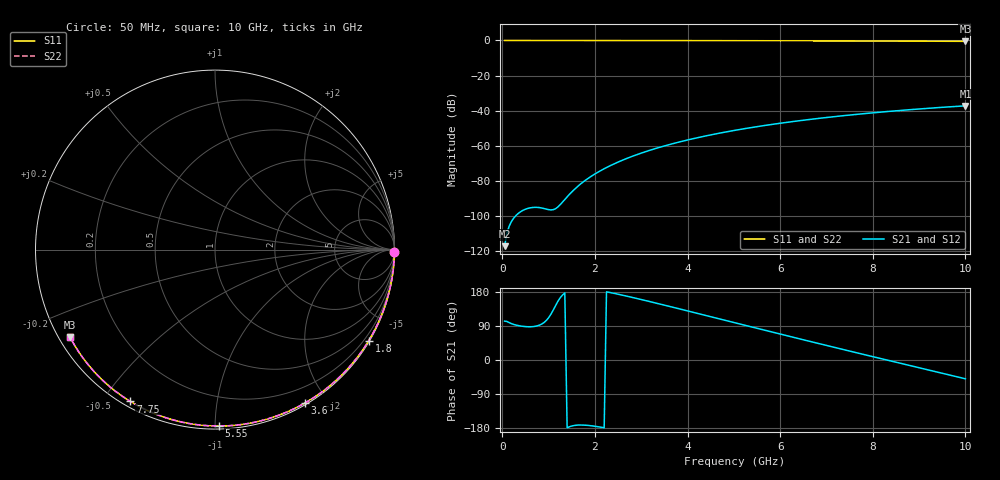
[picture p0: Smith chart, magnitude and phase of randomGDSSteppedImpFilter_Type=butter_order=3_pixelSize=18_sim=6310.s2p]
! freq	dB(S11)	phase(S11)	dB(S12)	phase(S12)
!  dB(S21)	phase(S21)	dB(S22)	phase(S22)
!S-par simulation data
#  GHz  S  DB  R 50
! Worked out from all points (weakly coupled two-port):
!   200 points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, 50 MHz to 10 GHz, reference 50 ohm
!   highest |S21| = -37.25 dB at 10 GHz (marker M1); lowest = -117.2 dB at 50 MHz (marker M2)
!   lowest |S11| = -0.5 dB at 10 GHz (marker M3), VSWR 34.46, Z = 1.56 - j13.9 ohm
!   |S11| at or under -10 dB: nowhere
!   |S22| runs from -0.5 to 0.0 dB; largest |S21 - S12| = 0
!   S11 on the Smith chart (normalised r, x): 50 MHz: open; 1.8 GHz: 0.03, -3.66; 3.6 GHz: 0.02, -1.74; 5.55 GHz: 0.02, -1.02; 7.75 GHz: 0.02, -0.59; 10 GHz: 0.03, -0.28
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0.05  -0.00 -0.9  -117.20 102.6  -117.20 102.6  -0.00 -0.9
0.45  -0.01 -7.8  -96.74 88.7  -96.74 88.7  -0.01 -7.8
0.9  -0.02 -15.5  -95.73 98.7  -95.73 98.7  -0.02 -15.5
1.3  -0.03 -22.2  -92.09 171.4  -92.09 171.4  -0.03 -22.2
1.75  -0.04 -29.8  -80.54 -171.8  -80.54 -171.8  -0.04 -29.8
1.8  -0.04 -30.6  -79.56 -172.1  -79.56 -172.1  -0.04 -30.6
1.95  -0.04 -33.1  -76.88 -174.0  -76.88 -174.0  -0.04 -33.1
2.1  -0.05 -35.6  -74.52 -176.8  -74.52 -176.8  -0.05 -35.6
2.3  -0.05 -38.9  -71.74 178.7  -71.74 178.7  -0.05 -38.9
2.5  -0.05 -42.1  -69.29 173.6  -69.29 173.6  -0.05 -42.1
2.9  -0.06 -48.6  -65.11 162.5  -65.11 162.5  -0.06 -48.6
3.4  -0.08 -56.5  -60.85 147.8  -60.85 147.8  -0.08 -56.5
3.6  -0.08 -59.6  -59.37 141.8  -59.37 141.8  -0.08 -59.6
4.3  -0.10 -70.4  -54.91 120.4  -54.91 120.4  -0.10 -70.4
5.05  -0.13 -81.6  -51.07 97.5  -51.07 97.5  -0.13 -81.6
5.55  -0.15 -88.8  -48.90 82.2  -48.90 82.2  -0.15 -88.8
6.1  -0.17 -96.6  -46.81 65.5  -46.81 65.5  -0.17 -96.6
6.7  -0.20 -104.9  -44.80 47.4  -44.80 47.4  -0.20 -104.9
7.75  -0.28 -119.1  -41.84 16.2  -41.84 16.2  -0.28 -119.1
8.35  -0.33 -127.1  -40.41 -1.4  -40.41 -1.4  -0.33 -127.1
9.2  -0.41 -138.3  -38.65 -26.3  -38.65 -26.3  -0.41 -138.3
10  -0.50 -148.9  -37.25 -49.6  -37.25 -49.6  -0.50 -148.9
